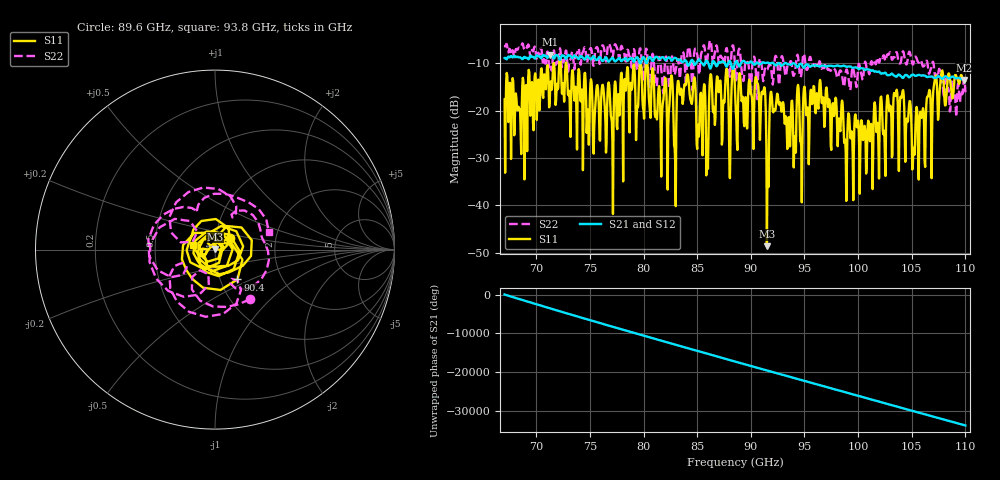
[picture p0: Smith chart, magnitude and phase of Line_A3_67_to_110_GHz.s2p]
#  HZ  S  MA  R  50.00
! Rohde & Schwarz ZVA67 4Ports - Version 4.11 - 1305.7002k04 SN: 101051
! Date: 2023-09-13 17:22:21
! Measurements: S11 S21 S12 S22
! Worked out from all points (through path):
!   860 points, 67.05 GHz to 110 GHz, reference 50 ohm
!   highest |S21| = -8.17 dB at 71.25 GHz (marker M1); lowest = -13.6 dB at 109.9 GHz (marker M2)
!   lowest |S11| = -48.6 dB at 91.5 GHz (marker M3), VSWR 1.01, Z = 50 + j0.372 ohm
!   |S11| at or under -10 dB: start of sweep to 71.64 GHz; 72.81 GHz to 79.65 GHz (6.842 GHz wide, 8.98 % of centre); 80.36 GHz to end of sweep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
!   |S22| runs from -21.3 to -5.2 dB; largest |S21 - S12| = 0.038
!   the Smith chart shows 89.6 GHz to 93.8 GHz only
!   S11 on the Smith chart (normalised r, x): 89.6 GHz: 1.17, +0.15; 90.4 GHz: 1.21, -0.42; 93.8 GHz: 0.78, +0.04
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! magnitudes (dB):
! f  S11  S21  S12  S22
! 67.05 GHz  -17.7  -8.9  -8.9  -6.3
! 71.25 GHz  -18.3  -8.2  -8.2  -10.8
! 74.25 GHz  -15.5  -8.7  -8.7  -8.2
! 77.05 GHz  -22.5  -8.9  -8.9  -8.2
! 80.3 GHz  -9.0  -10.0  -10.0  -7.2
! 81.4 GHz  -15.3  -9.0  -9.0  -9.5
! 82.95 GHz  -30.6  -8.9  -8.8  -12.1
! 88.55 GHz  -17.3  -9.8  -9.8  -11.9
! 89.6 GHz  -19.6  -9.9  -9.9  -9.4
! 90.4 GHz  -13.6  -10.3  -10.3  -9.6
! 91.2 GHz  -15.7  -9.8  -9.8  -13.3
! 91.5 GHz  -48.6  -9.9  -9.9  -11.4
! 91.95 GHz  -17.0  -10.0  -9.9  -12.3
! 93.8 GHz  -18.0  -10.3  -10.2  -10.0
! 95.7 GHz  -18.6  -10.5  -10.5  -10.4
! 98.85 GHz  -29.0  -10.7  -10.7  -11.9
! 102.8 GHz  -18.9  -12.5  -12.5  -8.2
! 104.1 GHz  -16.6  -13.0  -13.0  -8.1
! 105.2 GHz  -28.0  -12.4  -12.4  -10.1
! 107.2 GHz  -13.5  -13.1  -13.1  -12.5
! 109.9 GHz  -13.3  -13.6  -13.5  -13.3
! 110 GHz  -13.8  -13.5  -13.4  -16.2
